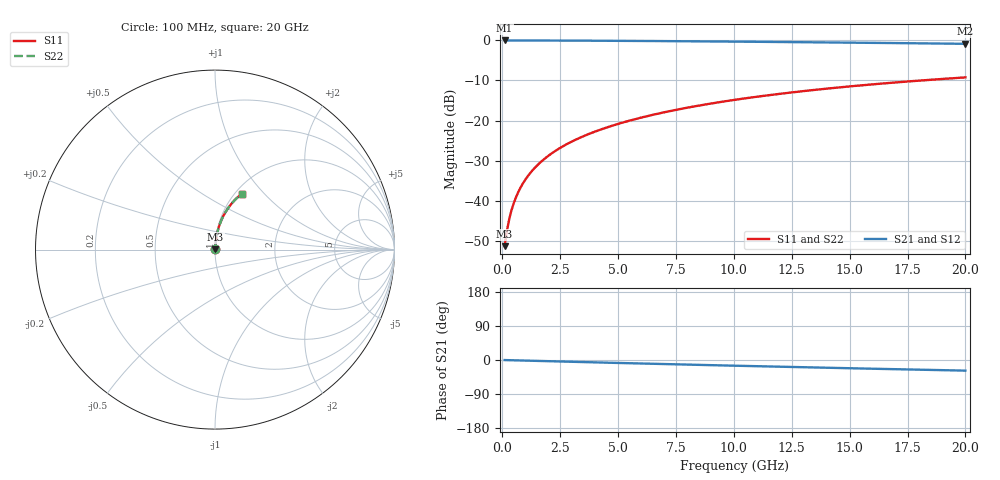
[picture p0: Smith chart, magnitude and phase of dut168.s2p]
! Touchstone file exported from HFSS 2024.1.0
!  File:  C:/UserFiles/LocalFiles/RDL_TSV_Batchsim/temp_RDL_top_168_1778685770.aedt
!  Generated:  11:25:18 PM May 13, 2026
!  Design:  RDL_top
!  Project:  temp_RDL_top_168_1778685770
!  Setup:  Setup1
!  Solution:  Sweep
! Variables:
!  dtsv = 10.80580581um
!  hbump = 3um
!  htsv = 75.31um
!  ldown = 100um
!  lrdl = 326.63um
!  p = 40
!  p1 = 54.25um
!  rhole = 1um
!  t = 450um
!  tdown = 3.915915916um
!  trdl = 4.87um
!  wdown = 15.38538539um
!  wrdl = 12.68um
# GHz S MA R 50.000000
! Terminal data exported
! Port[1] = Box2_T1
! Port[2] = Box2_T2
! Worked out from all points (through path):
!   200 points, 100 MHz to 20 GHz, reference 50 ohm
!   highest |S21| = -0.02 dB at 100 MHz (marker M1); lowest = -0.9 dB at 20 GHz (marker M2)
!   group delay of S21, straight-line fit = 3.89 ps
!   lowest |S11| = -51.3 dB at 100 MHz (marker M3), VSWR 1.01, Z = 50.2 + j0.189 ohm
!   |S11| at or under -10 dB: start of sweep to 18.07 GHz
!   |S22| runs from -51.3 to -9.2 dB; largest |S21 - S12| = 3.2e-15
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0.1  0.002719 43.7  0.998 -0.2  0.998 -0.2  0.002719 43.7
! Gamma 0 0 0 0
! Port Impedance 50 0 50 0
0.2  0.004237 61.6  0.998 -0.3  0.998 -0.3  0.004237 61.6
0.3  0.005923 69.6  0.9979 -0.5  0.9979 -0.5  0.005923 69.6
0.4  0.007666 74.0  0.9978 -0.6  0.9978 -0.6  0.007666 74.0
0.5  0.009438 76.7  0.9978 -0.8  0.9978 -0.8  0.009438 76.7
0.6  0.01123 78.6  0.9977 -1.0  0.9977 -1.0  0.01123 78.6
0.8  0.01483 80.9  0.9975 -1.3  0.9975 -1.3  0.01483 80.9
1.1  0.02026 82.7  0.9972 -1.8  0.9972 -1.8  0.02026 82.7
1.5  0.02753 83.7  0.9967 -2.4  0.9967 -2.4  0.02753 83.7
1.8  0.03298 84.0  0.9963 -2.9  0.9963 -2.9  0.03298 84.0
2.1  0.03843 84.2  0.9958 -3.3  0.9958 -3.3  0.03843 84.2
2.7  0.04931 84.1  0.9945 -4.3  0.9945 -4.3  0.04931 84.1
3.5  0.0638 83.7  0.9925 -5.5  0.9925 -5.5  0.0638 83.7
4.2  0.07647 83.2  0.9904 -6.6  0.9904 -6.6  0.07647 83.2
5  0.09094 82.5  0.9877 -7.8  0.9877 -7.8  0.09094 82.5
5.9  0.1072 81.6  0.9843 -9.1  0.9843 -9.1  0.1072 81.6
6.8  0.1235 80.6  0.9805 -10.5  0.9805 -10.5  0.1235 80.6
8.3  0.1505 78.9  0.9738 -12.6  0.9738 -12.6  0.1505 78.9
10.1  0.1826 76.8  0.965 -15.1  0.965 -15.1  0.1826 76.8
13.4  0.24 72.6  0.9471 -19.6  0.9471 -19.6  0.24 72.6
16.7  0.2945 68.4  0.9274 -23.9  0.9274 -23.9  0.2945 68.4
20  0.3455 64.3  0.9064 -28.1  0.9064 -28.1  0.3455 64.3
